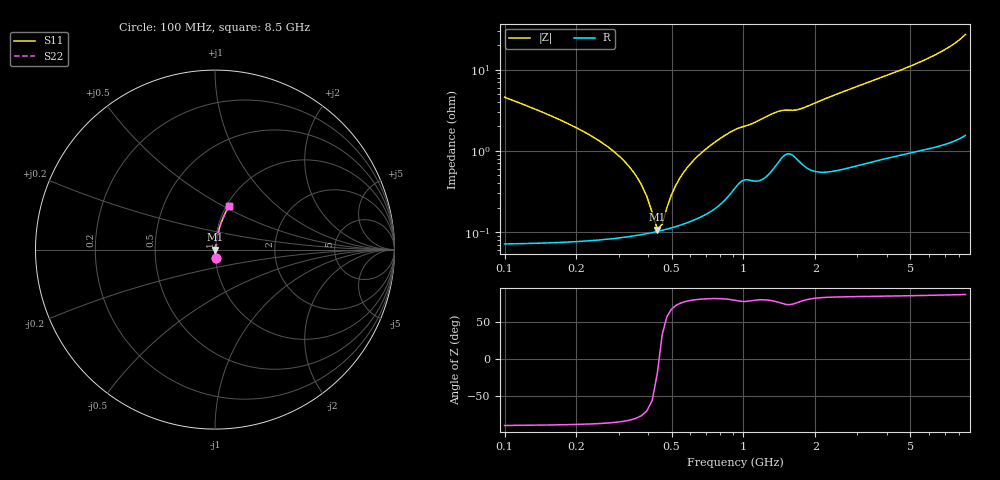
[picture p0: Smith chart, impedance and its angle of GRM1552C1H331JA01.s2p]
!Murata Part Number: GRM1552C1H331JA01
!These Parameters are Measured in Series Mode Connection
!Data Generated on Mar 30, 2021
!  o--ll--o
!Port1  Port2
!  o------o
!Operation Temp=25[degC], DC Bias Voltage=0[V]
!Freq. Start=100[MHz] Stop=9[GHz] 401[Steps]
# Hz S RI R 50
!Freq.(Hz) S11(Real) S11(Imag) S21(Real) S21(Imag) S12(Real) S12(Imag) S22(Real) S22(Imag)
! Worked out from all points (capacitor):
!   401 points, 100 MHz to 8.5 GHz, reference 50 ohm
!   read as one part in series: C = 330 pF near 142 MHz
!   lowest |Z| = 108 mohm at 436 MHz (marker M1)
!   series resonance near 443.1 MHz, so ESL is about 390 pH
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1e8  0.0028 -0.0456  0.9972 0.0456  0.9972 0.0456  0.0028 -0.0456
1.42e8  0.00166 -0.0304  0.9983 0.0304  0.9983 0.0304  0.00166 -0.0304
3.1e8  0.000917 -0.00795  0.9991 0.00795  0.9991 0.00795  0.000917 -0.00795
3.52e8  0.000927 -0.00506  0.9991 0.00506  0.9991 0.00506  0.000927 -0.00506
4.15e8  0.000986 -0.00143  0.999 0.00143  0.999 0.00143  0.000986 -0.00143
4.36e8  0.00102 -0.000349  0.999 0.000349  0.999 0.000349  0.00102 -0.000349
4.57e8  0.00105 0.00068  0.999 -0.00068  0.999 -0.00068  0.00105 0.00068
4.78e8  0.00109 0.00167  0.9989 -0.00167  0.9989 -0.00167  0.00109 0.00167
5.41e8  0.00123 0.00442  0.9988 -0.00442  0.9988 -0.00442  0.00123 0.00442
5.83e8  0.00134 0.00612  0.9987 -0.00612  0.9987 -0.00612  0.00134 0.00612
6.67e8  0.00163 0.00931  0.9984 -0.00931  0.9984 -0.00931  0.00163 0.00931
7.72e8  0.00218 0.0131  0.9978 -0.0131  0.9978 -0.0131  0.00218 0.0131
9.61e8  0.00434 0.0186  0.9957 -0.0186  0.9957 -0.0186  0.00434 0.0186
1.339e9  0.00683 0.0282  0.9932 -0.0282  0.9932 -0.0282  0.00683 0.0282
1.507e9  0.00986 0.0299  0.9901 -0.0299  0.9901 -0.0299  0.00986 0.0299
1.717e9  0.00827 0.0313  0.9917 -0.0313  0.9917 -0.0313  0.00827 0.0313
2.284e9  0.00752 0.0449  0.9925 -0.0449  0.9925 -0.0449  0.00752 0.0449
2.914e9  0.0099 0.0591  0.9901 -0.0591  0.9901 -0.0591  0.0099 0.0591
4.3e9  0.0167 0.0899  0.9833 -0.0899  0.9833 -0.0899  0.0167 0.0899
5.707e9  0.0264 0.1257  0.9736 -0.1257  0.9736 -0.1257  0.0264 0.1257
7.114e9  0.0432 0.1726  0.9568 -0.1726  0.9568 -0.1726  0.0432 0.1726
8.5e9  0.0807 0.2453  0.9193 -0.2453  0.9193 -0.2453  0.0807 0.2453
